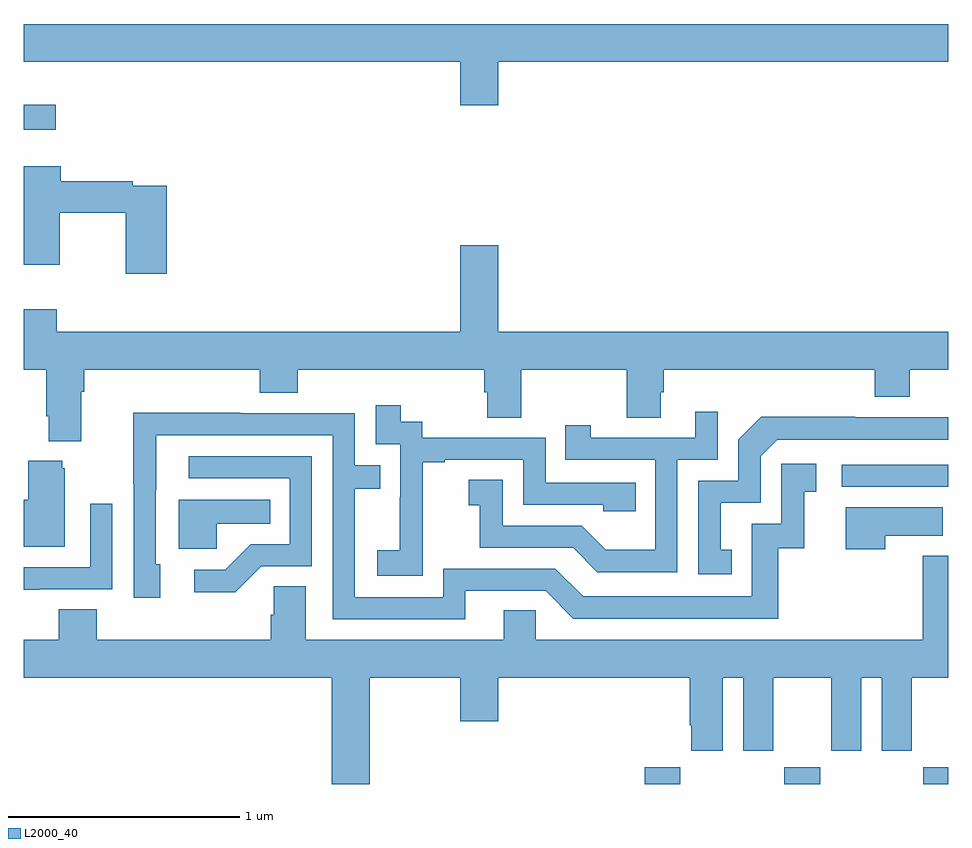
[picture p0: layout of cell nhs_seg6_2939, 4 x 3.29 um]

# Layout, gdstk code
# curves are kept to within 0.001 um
import gdstk
lib = gdstk.Library(unit=1e-6, precision=1e-09)
def R(c, l, rs):  # rectangles x0, y0, x1, y1
    for r in rs: c.add(gdstk.rectangle(r[:2], r[2:], *l))
def P(c, l, *ps):  # polygons
    for p in ps: c.add(gdstk.Polygon(p, *l))
L2000_40 = (2000, 40)

nhs_seg6_2939 = lib.new_cell('nhs_seg6_2939')
R(nhs_seg6_2939, L2000_40, [(285.686,989.5,285.841,989.572), (286.291,989.5,286.446,989.572), (286.891,989.5,287,989.572), (286.539,990.786,287,990.882), (283,992.33,283.138,992.438)])
P(nhs_seg6_2939, L2000_40, [(285.052,992.624),(287,992.624),(287,992.788),(283,992.788),(283,992.624),(284.888,992.624),(284.888,992.436),(285.052,992.436)],
  [(283.619,992.088),(283.472,992.088),(283.472,992.108),(283.16,992.108),(283.16,992.173),(283.001,992.173),(283.001,991.746),(283.155,991.746),(283.155,991.972),(283.441,991.972),(283.441,991.707),(283.619,991.707)],
  [(283.249,991.196),(283.262,991.196),(283.262,991.292),(284.021,991.292),(284.021,991.193),(284.186,991.193),(284.186,991.292),(284.993,991.292),(284.993,991.194),(285.005,991.194),(285.005,991.084),(285.153,991.084),(285.153,991.292),(285.61,991.292),(285.61,991.084),(285.757,991.084),(285.757,991.194),(285.77,991.194),(285.77,991.292),(286.682,991.292),(286.682,991.175),(286.834,991.175),(286.834,991.292),(287,991.292),(287,991.456),(285.052,991.456),(285.052,991.831),(284.888,991.831),(284.888,991.456),(283.142,991.456),(283.142,991.555),(283,991.555),(283,991.292),(283.097,991.292),(283.097,991.09),(283.109,991.09),(283.109,990.983),(283.249,990.983)],
  [(284.727,990.607),(284.726,990.607),(284.726,990.891),(284.821,990.891),(284.821,990.903),(285.162,990.903),(285.162,990.708),(285.507,990.708),(285.507,990.681),(285.647,990.681),(285.647,990.804),(285.258,990.804),(285.258,990.999),(284.724,990.999),(284.724,991.068),(284.632,991.068),(284.632,991.138),(284.523,991.138),(284.523,990.969),(284.628,990.969),(284.628,990.74),(284.627,990.74),(284.627,990.511),(284.529,990.511),(284.529,990.401),(284.727,990.401)],
  [(285.828,990.903),(286.002,990.903),(286.002,991.111),(285.905,991.111),(285.905,990.999),(285.454,990.999),(285.454,991.051),(285.343,991.051),(285.343,990.903),(285.732,990.903),(285.732,990.514),(285.518,990.514),(285.414,990.618),(285.072,990.618),(285.072,990.817),(284.925,990.817),(284.925,990.707),(284.974,990.707),(284.974,990.522),(285.377,990.522),(285.482,990.417),(285.828,990.417)],
  [(284.911,990.336),(285.258,990.336),(285.378,990.216),(286.265,990.216),(286.265,990.519),(286.376,990.519),(286.376,990.765),(286.429,990.765),(286.429,990.886),(286.278,990.886),(286.278,990.627),(286.149,990.627),(286.149,990.312),(285.42,990.312),(285.3,990.432),(284.814,990.432),(284.814,990.309),(284.433,990.309),(284.433,990.778),(284.543,990.778),(284.543,990.879),(284.433,990.879),(284.433,991.104),(283.937,991.104),(283.937,991.106),(283.474,991.106),(283.474,990.799),(283.476,990.799),(283.476,990.306),(283.591,990.306),(283.591,990.45),(283.572,990.45),(283.573,991.008),(284.337,991.008),(284.337,990.213),(284.911,990.213)],
  [(286.064,990.513),(286.015,990.513),(286.015,990.717),(286.188,990.717),(286.188,990.918),(286.26,990.99),(287,990.99),(287,991.086),(286.598,991.086),(286.598,991.088),(286.19,991.088),(286.092,990.99),(286.092,990.813),(285.918,990.813),(285.918,990.408),(286.064,990.408)],
  [(284.028,990.441),(284.247,990.441),(284.247,990.918),(283.713,990.918),(283.713,990.822),(284.151,990.822),(284.151,990.537),(283.982,990.537),(283.871,990.426),(283.737,990.426),(283.737,990.329),(283.915,990.329)],
  [(283.177,990.867),(283.166,990.867),(283.166,990.898),(283.019,990.898),(283.019,990.73),(283,990.73),(283,990.527),(283.177,990.527)],
  [(283.836,990.626),(284.066,990.626),(284.066,990.73),(283.67,990.73),(283.67,990.518),(283.836,990.518)],
  [(283.067,990.342),(283.383,990.342),(283.383,990.712),(283.287,990.712),(283.287,990.438),(283,990.438),(283,990.341),(283.067,990.341)],
  [(286.727,990.575),(286.975,990.575),(286.975,990.697),(286.556,990.697),(286.556,990.516),(286.727,990.516)],
  [(284.497,989.96),(284.888,989.96),(284.888,989.772),(285.052,989.772),(285.052,989.96),(285.881,989.96),(285.881,989.755),(285.887,989.755),(285.887,989.643),(286.024,989.643),(286.024,989.96),(286.112,989.96),(286.112,989.643),(286.243,989.643),(286.243,989.96),(286.493,989.96),(286.493,989.643),(286.624,989.643),(286.624,989.96),(286.712,989.96),(286.712,989.643),(286.843,989.643),(286.843,989.96),(287,989.96),(287,990.487),(286.889,990.487),(286.889,990.124),(285.216,990.124),(285.216,990.251),(285.077,990.251),(285.077,990.124),(284.221,990.124),(284.221,990.356),(284.082,990.356),(284.082,990.233),(284.069,990.233),(284.069,990.124),(283.316,990.124),(283.316,990.257),(283.151,990.257),(283.151,990.124),(283,990.124),(283,989.96),(284.333,989.96),(284.333,989.5),(284.497,989.5)])

lib.write_gds('nhs_seg6_2939.gds')
